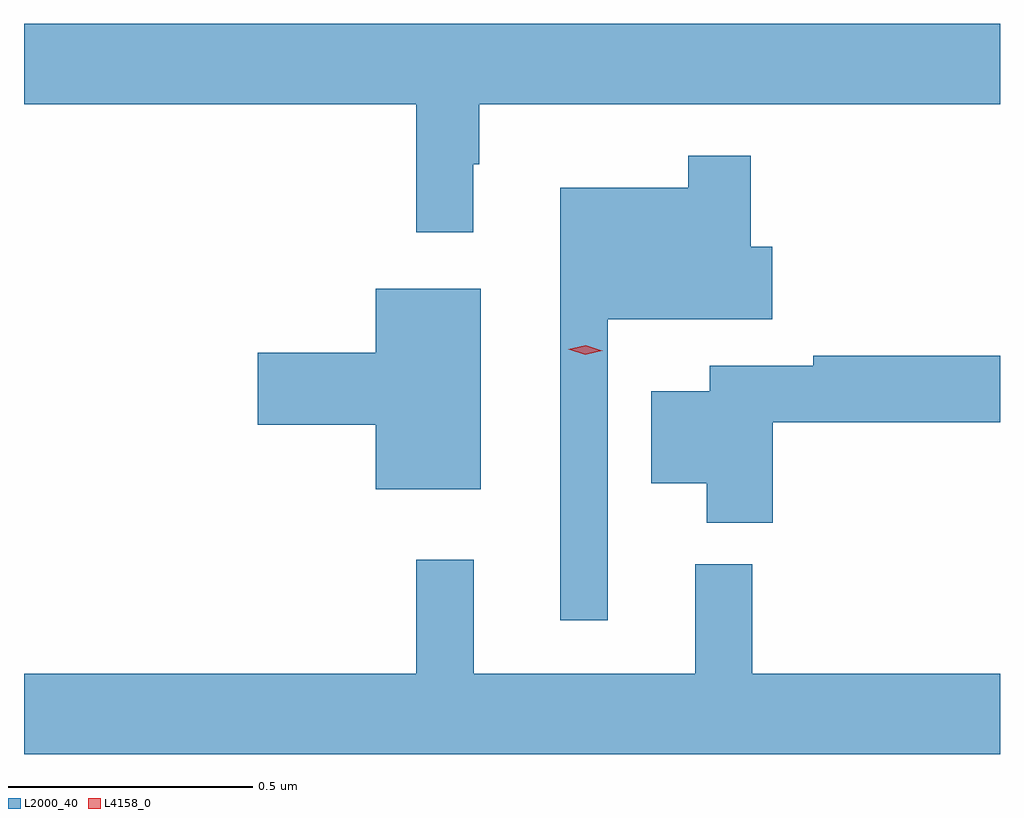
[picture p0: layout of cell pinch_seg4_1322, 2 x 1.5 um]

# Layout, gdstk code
import gdstk
lib = gdstk.Library(unit=1e-6, precision=1e-09)
def P(c, l, *ps):  # polygons
    for p in ps: c.add(gdstk.Polygon(p, *l))
L2000_40 = (2000, 40)
L4158_0 = (4158, 0)

pinch_seg4_1322 = lib.new_cell('pinch_seg4_1322')
P(pinch_seg4_1322, L2000_40, [(337.606,764.729),(337.618,764.729),(337.618,764.852),(338.685,764.852),(338.685,765.016),(336.685,765.016),(336.685,764.852),(337.489,764.852),(337.489,764.589),(337.606,764.589)],
  [(337.881,764.411),(338.218,764.411),(338.218,764.559),(338.174,764.559),(338.174,764.746),(338.046,764.746),(338.046,764.68),(337.784,764.68),(337.784,763.794),(337.881,763.794)],
  [(337.621,764.473),(337.406,764.473),(337.406,764.342),(337.164,764.342),(337.164,764.195),(337.406,764.195),(337.406,764.063),(337.621,764.063)],
  [(338.219,764.2),(338.685,764.2),(338.685,764.336),(338.302,764.336),(338.302,764.316),(338.09,764.316),(338.09,764.263),(337.97,764.263),(337.97,764.075),(338.084,764.075),(338.084,763.994),(338.219,763.994)],
  [(338.685,763.684),(338.177,763.684),(338.177,763.909),(338.06,763.909),(338.06,763.684),(337.607,763.684),(337.607,763.918),(337.489,763.918),(337.489,763.684),(336.685,763.684),(336.685,763.52),(338.685,763.52)])
P(pinch_seg4_1322, L4158_0, [(337.835,764.338),(337.8,764.349),(337.8,764.349),(337.8,764.349),(337.836,764.358),(337.87,764.346),(337.871,764.346),(337.87,764.346)])

lib.write_gds('pinch_seg4_1322.gds')
